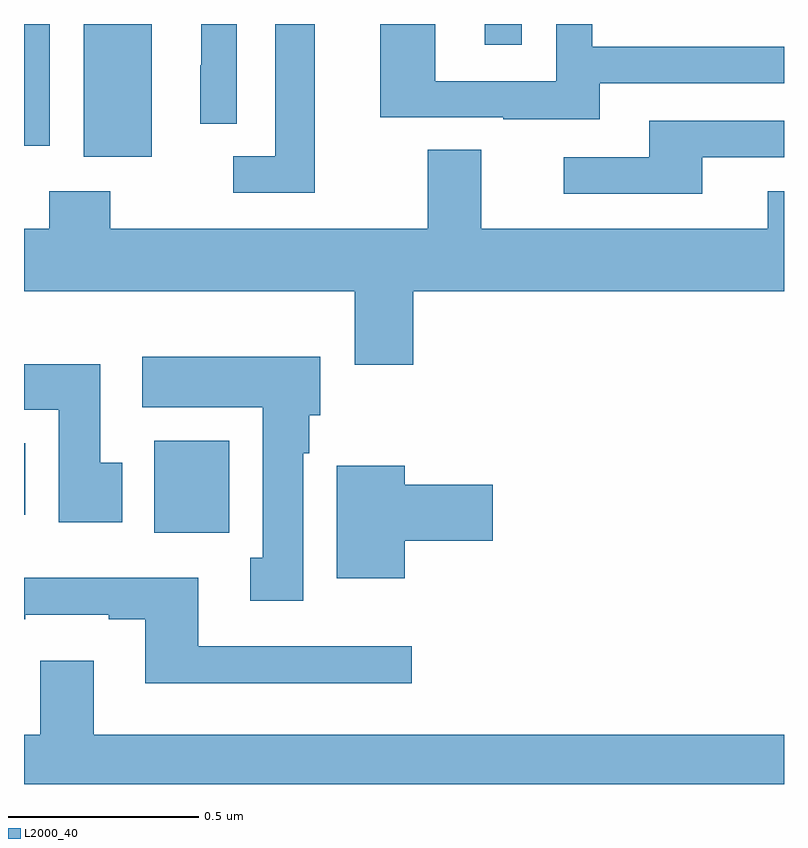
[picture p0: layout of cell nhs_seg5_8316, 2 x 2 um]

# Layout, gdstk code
import gdstk
lib = gdstk.Library(unit=1e-6, precision=1e-09)
def R(c, l, rs):  # rectangles x0, y0, x1, y1
    for r in rs: c.add(gdstk.rectangle(r[:2], r[2:], *l))
def P(c, l, *ps):  # polygons
    for p in ps: c.add(gdstk.Polygon(p, *l))
L2000_40 = (2000, 40)

nhs_seg5_8316 = lib.new_cell('nhs_seg5_8316')
R(nhs_seg5_8316, L2000_40, [(220.343,853.46,220.54,853.702), (220,853.508,220.003,853.696), (220.157,854.45,220.336,854.799), (220,854.479,220.068,854.799), (221.213,854.745,221.31,854.799)])
P(nhs_seg5_8316, L2000_40, [(220.56,854.799),(220.466,854.799),(220.466,854.69),(220.464,854.69),(220.464,854.536),(220.56,854.536)],
  [(220.765,854.799),(220.661,854.799),(220.661,854.451),(220.551,854.451),(220.551,854.355),(220.765,854.355)],
  [(221.515,854.643),(222,854.643),(222,854.739),(221.496,854.739),(221.496,854.799),(221.4,854.799),(221.4,854.649),(221.082,854.649),(221.082,854.799),(220.937,854.799),(220.937,854.553),(221.261,854.553),(221.261,854.549),(221.515,854.549)],
  [(221.785,854.448),(222,854.448),(222,854.544),(221.645,854.544),(221.645,854.448),(221.421,854.448),(221.421,854.352),(221.785,854.352)],
  [(221.024,854.096),(222,854.096),(222,854.359),(221.957,854.359),(221.957,854.26),(221.203,854.26),(221.203,854.468),(221.063,854.468),(221.063,854.26),(220.227,854.26),(220.227,854.359),(220.067,854.359),(220.067,854.26),(220,854.26),(220,854.096),(220.871,854.096),(220.871,853.902),(221.024,853.902)],
  [(220.735,853.67),(220.75,853.67),(220.75,853.77),(220.78,853.77),(220.78,853.924),(220.311,853.924),(220.311,853.79),(220.628,853.79),(220.628,853.394),(220.595,853.394),(220.595,853.281),(220.735,853.281)],
  [(220.258,853.644),(220.201,853.644),(220.201,853.903),(220,853.903),(220,853.784),(220.091,853.784),(220.091,853.488),(220.258,853.488)],
  [(221.002,853.439),(221.233,853.439),(221.233,853.586),(221.002,853.586),(221.002,853.636),(220.823,853.636),(220.823,853.34),(221.002,853.34)],
  [(221.02,853.161),(220.459,853.161),(220.459,853.342),(220,853.342),(220,853.233),(220.003,853.233),(220.003,853.245),(220.223,853.245),(220.223,853.233),(220.319,853.233),(220.319,853.064),(221.02,853.064)],
  [(222,852.928),(220.183,852.928),(220.183,853.123),(220.043,853.123),(220.043,852.928),(220,852.928),(220,852.799),(222,852.799)])

lib.write_gds('nhs_seg5_8316.gds')
